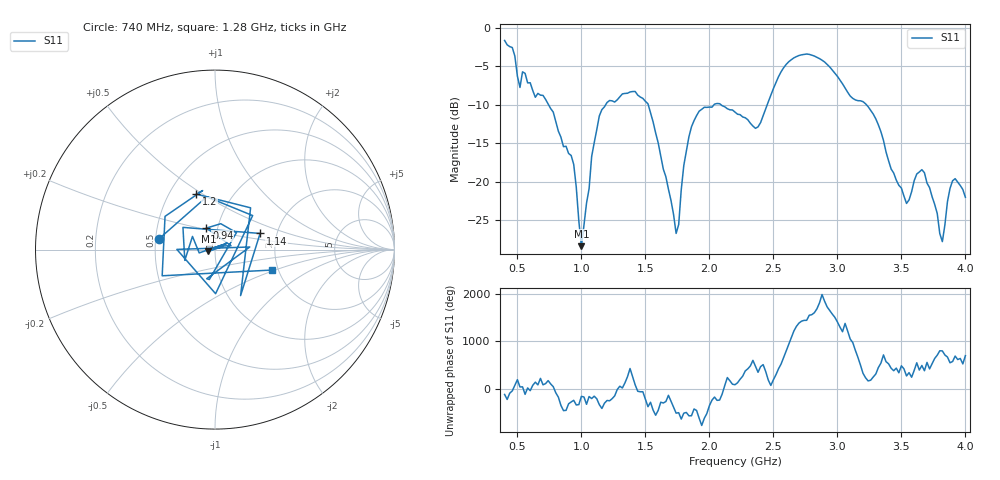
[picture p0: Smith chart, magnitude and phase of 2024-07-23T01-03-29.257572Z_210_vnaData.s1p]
!Created with skrf (http://scikit-rf.org).
# Hz S RI R 50.0
!freq ReS11 ImS11
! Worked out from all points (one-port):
!   181 points, 400 MHz to 4 GHz, reference 50 ohm
!   lowest |S11| = -28.4 dB at 1 GHz (marker M1), VSWR 1.08, Z = 46.5 - j0.964 ohm
!   |S11| at or under -10 dB: 742.2 MHz to 1.19 GHz (448.3 MHz wide, 46.4 % of centre); 1.522 GHz to 2.037 GHz (515.3 MHz wide, 29 % of centre); 3.226 GHz to end of sweep (the widest 3 of 4)
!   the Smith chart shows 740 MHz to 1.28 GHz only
!   S11 on the Smith chart (normalised r, x): 740 MHz: 0.52, +0.07; 940 MHz: 0.88, +0.22; 1.14 GHz: 1.63, +0.32; 1.2 GHz: 0.68, +0.47; 1.28 GHz: 1.86, -0.48
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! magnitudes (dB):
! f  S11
! 400 MHz  -1.7
! 460 MHz  -2.6
! 520 MHz  -7.8
! 540 MHz  -5.8
! 740 MHz  -9.9
! 860 MHz  -15.5
! 940 MHz  -17.8
! 1 GHz  -28.4
! 1.14 GHz  -11.5
! 1.2 GHz  -9.7
! 1.28 GHz  -9.4
! 1.3 GHz  -9.0
! 1.52 GHz  -9.9
! 1.74 GHz  -26.7
! 1.76 GHz  -25.6
! 1.8 GHz  -17.9
! 1.88 GHz  -12.1
! 2.2 GHz  -11.0
! 2.38 GHz  -12.9
! 2.66 GHz  -3.9
! 2.88 GHz  -4.2
! 3.1 GHz  -8.9
! 3.28 GHz  -11.2
! 3.56 GHz  -22.4
! 3.68 GHz  -18.8
! 3.82 GHz  -27.8
! 3.9 GHz  -19.9
! 4 GHz  -22.0
